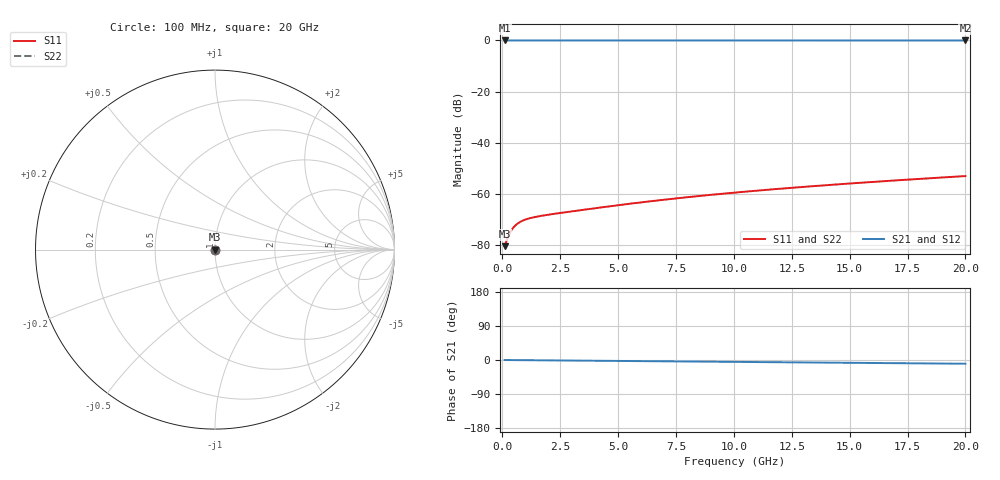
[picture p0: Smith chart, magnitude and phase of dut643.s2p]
! Touchstone file exported from HFSS 2026.1.0
!  File:  C:/ffzhzh/LocalFiles/Ansys_Project_Files/temp_train_TSV_643_1783026506_53980.aedt
!  Generated:  05:09:48 AM Jul  3, 2026
!  Design:  TSV
!  Project:  temp_train_TSV_643_1783026506_53980
! Variables:
!  h_bsmrdl = 2um
!  h_ox = 20um
!  h_rdl = 5um
!  h_sub = 98.78um
!  h_tmrdl = 5um
!  h_tsv = 98.78um
!  h_via = 3um
!  l_bsmrdl = 300um
!  l_sub = 429.22um
!  l_tmrdl = 200um
!  m_sub = 200um
!  pitch = 57.8um
!  r_tsv = 14.61um
!  s_tmrdl = 10um
!  w_bsmrdl = 18um
!  w_sub = 500um
!  w_tmrdl = 12um
!  x_tsv_center1 = 206um
!  x_tsv_center2 = 524um
!  x_tsv_center3 = 736um
!  x_tsv_center4 = 1054um
!  x_tsv_center5 = 1266um
!  x_tsv_center6 = 1584um
# GHz S MA R 50.000000
! Terminal data exported
! Port[1] = TSV1_1_T1
! Port[2] = TSV1_1_T2
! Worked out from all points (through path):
!   200 points, 100 MHz to 20 GHz, reference 50 ohm
!   highest |S21| = 0.00 dB at 100 MHz (marker M1); lowest = 0.0 dB at 20 GHz (marker M2)
!   group delay of S21, straight-line fit = 1.37 ps
!   lowest |S11| = -80.6 dB at 100 MHz (marker M3), VSWR 1.00, Z = 50 + j0.00394 ohm
!   |S11| at or under -10 dB: start of sweep to end of sweep
!   |S22| runs from -80.6 to -53.1 dB; largest |S21 - S12| = 2.4e-15
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0.1  9.35e-05 24.9  0.9999 -0.1  0.9999 -0.1  9.35e-05 24.9
! Gamma 0 0 0 0
! Port Impedance 50 0 50 0
0.2  0.0001255 36.2  0.9999 -0.1  0.9999 -0.1  0.0001255 36.2
0.3  0.0001609 39.1  0.9999 -0.2  0.9999 -0.2  0.0001609 39.1
0.4  0.0001938 38.3  0.9998 -0.2  0.9998 -0.2  0.0001938 38.3
0.5  0.0002225 36.1  0.9998 -0.3  0.9998 -0.3  0.0002224 36.1
0.6  0.0002467 33.4  0.9998 -0.3  0.9998 -0.3  0.0002467 33.4
0.7  0.000267 30.7  0.9998 -0.4  0.9998 -0.4  0.000267 30.7
0.8  0.0002841 28.1  0.9997 -0.4  0.9997 -0.4  0.000284 28.1
0.9  0.0002985 25.6  0.9997 -0.5  0.9997 -0.5  0.0002984 25.6
1  0.0003108 23.3  0.9997 -0.5  0.9997 -0.5  0.0003108 23.3
1.2  0.000331 19.3  0.9997 -0.6  0.9997 -0.6  0.000331 19.3
1.6  0.0003616 13.0  0.9996 -0.8  0.9996 -0.8  0.0003616 13.0
2.2  0.0003992 5.9  0.9996 -1.1  0.9996 -1.1  0.0003991 5.9
3.5  0.0004819 -5.7  0.9995 -1.7  0.9995 -1.7  0.0004819 -5.7
5.2  0.0006087 -18.2  0.9994 -2.6  0.9994 -2.6  0.0006086 -18.2
6.8  0.0007435 -28.1  0.9993 -3.4  0.9993 -3.4  0.0007434 -28.1
8.4  0.0008891 -36.4  0.9992 -4.2  0.9992 -4.2  0.000889 -36.4
10.1  0.001053 -43.7  0.9992 -5.0  0.9992 -5.0  0.001053 -43.7
11.7  0.001216 -49.4  0.9991 -5.8  0.9991 -5.8  0.001216 -49.4
13.4  0.001398 -54.5  0.9991 -6.6  0.9991 -6.6  0.001398 -54.5
16.7  0.00178 -62.2  0.9989 -8.2  0.9989 -8.2  0.001779 -62.2
20  0.002208 -68.2  0.9988 -9.8  0.9988 -9.8  0.002207 -68.2
